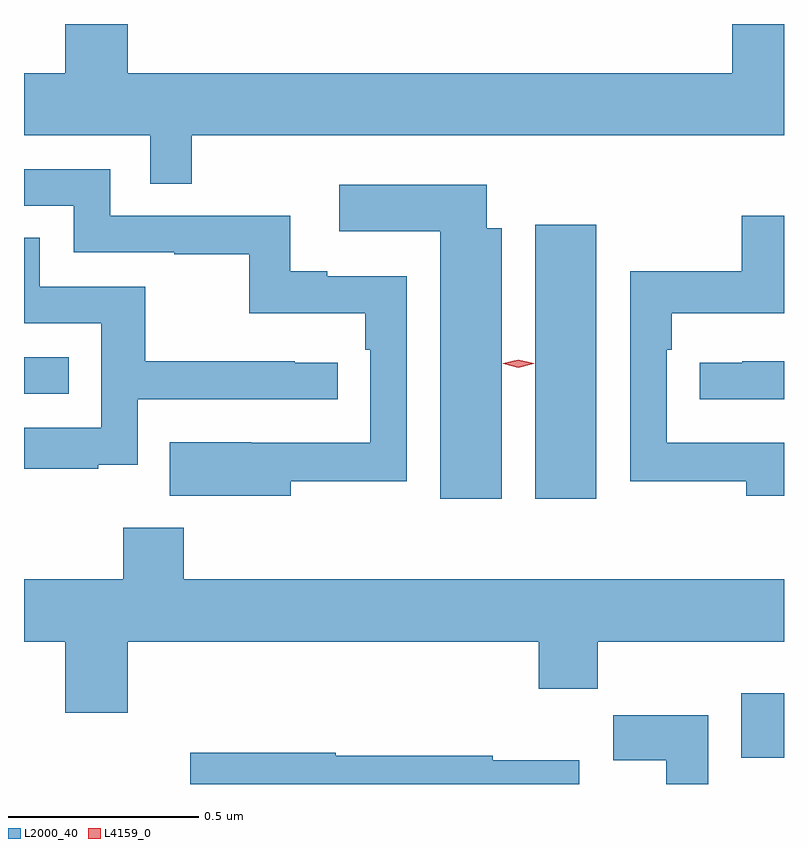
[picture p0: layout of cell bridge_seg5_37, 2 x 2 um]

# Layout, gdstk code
import gdstk
lib = gdstk.Library(unit=1e-6, precision=1e-09)
def R(c, l, rs):  # rectangles x0, y0, x1, y1
    for r in rs: c.add(gdstk.rectangle(r[:2], r[2:], *l))
def P(c, l, *ps):  # polygons
    for p in ps: c.add(gdstk.Polygon(p, *l))
L2000_40 = (2000, 40)
L4159_0 = (4159, 0)

bridge_seg5_37 = lib.new_cell('bridge_seg5_37')
R(bridge_seg5_37, L2000_40, [(886.067,904.406,886.179,904.576), (885.524,905.088,885.685,905.809), (884.179,905.364,884.297,905.46), (885.755,906.336,885.907,906.337)])
P(bridge_seg5_37, L2000_40, [(884.62,906.044),(886.179,906.044),(886.179,906.337),(886.043,906.337),(886.043,906.208),(884.452,906.208),(884.452,906.337),(884.288,906.337),(884.288,906.208),(884.179,906.208),(884.179,906.044),(884.511,906.044),(884.511,905.917),(884.62,905.917)],
  [(884.881,905.134),(885.186,905.134),(885.186,905.673),(884.977,905.673),(884.977,905.686),(884.88,905.686),(884.88,905.832),(884.406,905.832),(884.406,905.955),(884.179,905.955),(884.179,905.859),(884.31,905.859),(884.31,905.736),(884.575,905.736),(884.575,905.731),(884.772,905.731),(884.772,905.576),(885.077,905.576),(885.077,905.48),(885.09,905.48),(885.09,905.235),(884.777,905.235),(884.777,905.236),(884.563,905.236),(884.563,905.096),(884.881,905.096)],
  [(885.436,905.8),(885.397,905.8),(885.397,905.914),(885.009,905.914),(885.009,905.792),(885.275,905.792),(885.275,905.088),(885.436,905.088)],
  [(886.179,905.235),(885.87,905.235),(885.87,905.48),(885.884,905.48),(885.884,905.576),(886.179,905.576),(886.179,905.832),(886.068,905.832),(886.068,905.686),(885.774,905.686),(885.774,905.134),(886.079,905.134),(886.079,905.096),(886.179,905.096)],
  [(884.375,905.177),(884.478,905.177),(884.478,905.349),(885.004,905.349),(885.004,905.445),(884.891,905.445),(884.891,905.45),(884.498,905.45),(884.498,905.646),(884.221,905.646),(884.221,905.774),(884.179,905.774),(884.179,905.55),(884.382,905.55),(884.382,905.274),(884.179,905.274),(884.179,905.166),(884.375,905.166)],
  [(886.179,905.45),(886.069,905.45),(886.069,905.445),(885.957,905.445),(885.957,905.349),(886.179,905.349)],
  [(884.452,904.712),(885.533,904.712),(885.533,904.588),(885.689,904.588),(885.689,904.712),(886.179,904.712),(886.179,904.876),(884.6,904.876),(884.6,905.011),(884.44,905.011),(884.44,904.876),(884.179,904.876),(884.179,904.712),(884.288,904.712),(884.288,904.524),(884.452,904.524)],
  [(885.979,904.518),(885.73,904.518),(885.73,904.4),(885.869,904.4),(885.869,904.337),(885.979,904.337)],
  [(885.64,904.399),(885.412,904.399),(885.412,904.411),(885,904.411),(885,904.419),(884.616,904.419),(884.616,904.337),(885.64,904.337)])
P(bridge_seg5_37, L4159_0, [(885.48,905.433),(885.44,905.443),(885.44,905.443),(885.44,905.444),(885.48,905.453),(885.52,905.444),(885.52,905.443),(885.52,905.443)])

lib.write_gds('bridge_seg5_37.gds')
